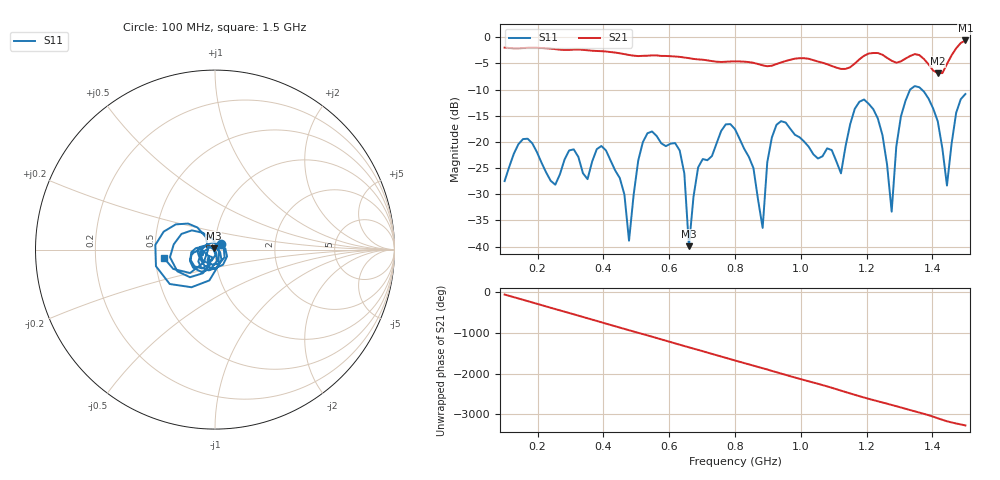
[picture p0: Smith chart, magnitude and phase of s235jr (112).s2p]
! NanoVNA-App
! Date: 2025-09-25 15:05:02
! Start: 100MHz Stop: 1,5GHz Points: 101
! S-Parameter data: F S11 S21 S12 S22
# Hz S RI R 50
!  Frequency  S11_Real  S11_Imag  S21_Real  S21_Imag  S12_Real  S12_Imag  S22_Real  S22_Imag
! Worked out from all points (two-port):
!   101 points, 100 MHz to 1.5 GHz, reference 50 ohm
!   highest |S21| = -0.60 dB at 1.5 GHz (marker M1); lowest = -6.8 dB at 1.416 GHz (marker M2)
!   |S21| within 3 dB of the highest: start of sweep to 600.5 MHz; 1.191 GHz to 1.254 GHz (63.55 MHz wide, 5.2 % of centre) (the widest 2 of 4)
!   lowest |S11| = -39.9 dB at 660 MHz (marker M3), VSWR 1.02, Z = 49.2 + j0.648 ohm
!   |S11| at or under -10 dB: start of sweep to 1.332 GHz; 1.368 GHz to end of sweep
!   S12 and S22 are empty: the file has one direction only
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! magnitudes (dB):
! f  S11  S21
! 100 MHz  -27.5  -2.0
! 156 MHz  -19.5  -2.1
! 338 MHz  -26.0  -2.4
! 408 MHz  -21.6  -2.7
! 478 MHz  -38.9  -3.4
! 520 MHz  -20.0  -3.5
! 576 MHz  -20.3  -3.6
! 632 MHz  -21.6  -3.7
! 660 MHz  -39.9  -4.0
! 688 MHz  -24.9  -4.2
! 800 MHz  -17.6  -4.6
! 884 MHz  -36.4  -5.4
! 926 MHz  -16.7  -5.1
! 1.038 GHz  -22.4  -4.4
! 1.122 GHz  -26.0  -6.0
! 1.192 GHz  -11.9  -3.5
! 1.248 GHz  -18.7  -3.3
! 1.276 GHz  -33.3  -4.5
! 1.332 GHz  -10.0  -3.6
! 1.416 GHz  -16.0  -6.8
! 1.444 GHz  -28.3  -5.1
! 1.5 GHz  -10.8  -0.6
